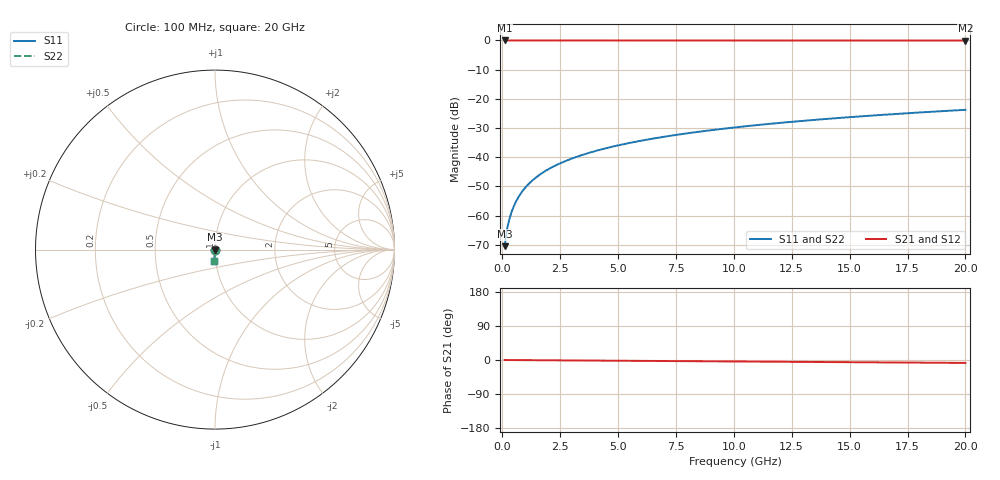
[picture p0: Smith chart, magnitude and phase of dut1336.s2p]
! Touchstone file exported from HFSS 2026.1.0
!  File:  C:/ffzhzh/LocalFiles/Ansys_Project_Files/temp_train_TSV_1336_1783195489_55132.aedt
!  Generated:  04:06:15 AM Jul  5, 2026
!  Design:  TSV
!  Project:  temp_train_TSV_1336_1783195489_55132
! Variables:
!  h_bsmrdl = 2um
!  h_ox = 20um
!  h_rdl = 5um
!  h_sub = 71.71um
!  h_tmrdl = 5um
!  h_tsv = 71.71um
!  h_via = 3um
!  l_bsmrdl = 300um
!  l_sub = 421.26um
!  l_tmrdl = 200um
!  m_sub = 200um
!  pitch = 28.33um
!  r_tsv = 10.63um
!  s_tmrdl = 10um
!  w_bsmrdl = 18um
!  w_sub = 500um
!  w_tmrdl = 12um
!  x_tsv_center1 = 206um
!  x_tsv_center2 = 524um
!  x_tsv_center3 = 736um
!  x_tsv_center4 = 1054um
!  x_tsv_center5 = 1266um
!  x_tsv_center6 = 1584um
# GHz S MA R 50.000000
! Terminal data exported
! Port[1] = TSV1_1_T1
! Port[2] = TSV1_1_T2
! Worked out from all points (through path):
!   200 points, 100 MHz to 20 GHz, reference 50 ohm
!   highest |S21| = 0.00 dB at 100 MHz (marker M1); lowest = 0.0 dB at 20 GHz (marker M2)
!   group delay of S21, straight-line fit = 1.07 ps
!   lowest |S11| = -70.5 dB at 100 MHz (marker M3), VSWR 1.00, Z = 50 - j0.0273 ohm
!   |S11| at or under -10 dB: start of sweep to end of sweep
!   |S22| runs from -70.5 to -23.8 dB; largest |S21 - S12| = 4.6e-15
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0.1  0.0002982 -66.4  0.9999 -0.0  0.9999 -0.0  0.0002982 -66.4
! Gamma 0 0 0 0
! Port Impedance 50 0 50 0
0.2  0.0005679 -76.2  0.9999 -0.1  0.9999 -0.1  0.0005679 -76.2
0.3  0.0008525 -79.2  0.9998 -0.1  0.9998 -0.1  0.0008525 -79.2
0.4  0.001147 -80.7  0.9998 -0.2  0.9998 -0.2  0.001147 -80.7
0.5  0.001451 -81.5  0.9998 -0.2  0.9998 -0.2  0.001451 -81.5
0.7  0.002074 -82.8  0.9997 -0.3  0.9997 -0.3  0.002074 -82.8
0.8  0.002391 -83.3  0.9997 -0.3  0.9997 -0.3  0.002391 -83.3
1  0.00303 -84.1  0.9997 -0.4  0.9997 -0.4  0.00303 -84.1
1.2  0.003672 -84.9  0.9996 -0.5  0.9996 -0.5  0.003672 -84.9
1.4  0.004314 -85.4  0.9996 -0.6  0.9996 -0.6  0.004314 -85.4
1.7  0.005277 -86.2  0.9996 -0.7  0.9996 -0.7  0.005277 -86.2
2  0.00624 -86.7  0.9995 -0.8  0.9995 -0.8  0.00624 -86.7
2.7  0.008487 -87.7  0.9995 -1.1  0.9995 -1.1  0.008487 -87.7
3.5  0.01106 -88.5  0.9994 -1.4  0.9994 -1.4  0.01106 -88.5
4.2  0.01332 -89.0  0.9993 -1.6  0.9993 -1.6  0.01332 -89.0
5  0.01591 -89.5  0.9992 -1.9  0.9992 -1.9  0.01591 -89.5
6.8  0.02176 -90.5  0.999 -2.6  0.999 -2.6  0.02176 -90.5
8.3  0.02665 -91.3  0.9988 -3.2  0.9988 -3.2  0.02665 -91.3
10.1  0.03251 -92.2  0.9985 -3.9  0.9985 -3.9  0.03251 -92.2
13.4  0.04327 -93.7  0.9979 -5.2  0.9979 -5.2  0.04327 -93.7
16.7  0.05401 -95.1  0.9973 -6.4  0.9973 -6.4  0.05401 -95.1
20  0.06473 -96.5  0.9965 -7.7  0.9965 -7.7  0.06473 -96.5
